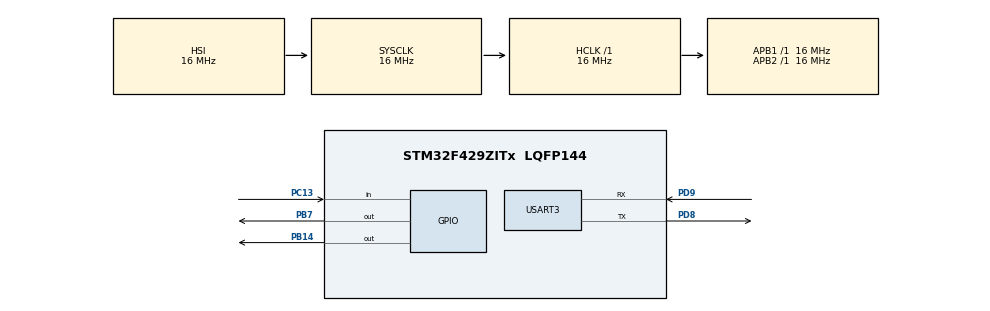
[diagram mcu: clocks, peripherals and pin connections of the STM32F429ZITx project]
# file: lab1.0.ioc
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Mcu.Family=STM32F4
Mcu.Name=STM32F429ZITx
Mcu.Package=LQFP144
NVIC.PriorityGroup=NVIC_PRIORITYGROUP_4
NVIC.USART3_IRQn=true\:0\:0\:false\:false\:true\:true\:true\:true
PB14.Signal=GPIO_Output
PB7.Signal=GPIO_Output
PC13.Signal=GPIO_Input
PD8.Mode=Asynchronous
PD8.Signal=USART3_TX
PD9.Mode=Asynchronous
PD9.Signal=USART3_RX
ProjectManager.HeapSize=0x200
ProjectManager.StackSize=0x400
ProjectManager.TargetToolchain=STM32CubeIDE
RCC.AHBFreq_Value=16000000
RCC.APB1Freq_Value=16000000
RCC.APB2Freq_Value=16000000
RCC.CortexFreq_Value=16000000
RCC.HSE_VALUE=25000000
RCC.HSI_VALUE=16000000
RCC.LSE_VALUE=32768
RCC.SYSCLKFreq_VALUE=16000000
RCC.VCOOutputFreq_Value=192000000
USART3.VirtualMode=VM_ASYNC
board=custom

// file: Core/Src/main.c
/* USER CODE BEGIN Header */
/**
  ******************************************************************************
  * @file           : main.c
  * @brief          : Main program body
  ******************************************************************************
  * @attention
  *
  * Copyright (c) 2025 STMicroelectronics.
  * All rights reserved.
  *
  * This software is licensed under terms that can be found in the LICENSE file
  * in the root directory of this software component.
  * If no LICENSE file comes with this software, it is provided AS-IS.
  *
  ******************************************************************************
  */
/* USER CODE END Header */
#include "main.h"

/* USER CODE BEGIN Includes */
#include <string.h>
#include <ctype.h>
#include <stdlib.h>
/* USER CODE END Includes */

/* USER CODE BEGIN PD */
#define LD2_GPIO_PORT    GPIOB
#define LD2_PIN          GPIO_PIN_7

#define LD3_GPIO_PORT    GPIOB
#define LD3_PIN          GPIO_PIN_14

#define USER_BUTTON_PORT GPIOC
#define USER_BUTTON_PIN  GPIO_PIN_13

#define RX_BUFFER_SIZE 32
/* USER CODE END PD */

UART_HandleTypeDef huart3;

/* USER CODE BEGIN PV */
uint32_t tick_ms;
uint32_t phase_shift_ms;
uint8_t last_button_state = GPIO_PIN_SET;
uint8_t phase90_mode = 1;

uint32_t blink_period_ms = 1000;
uint32_t half_period_ms = 500;

char rx_buffer[RX_BUFFER_SIZE];
uint8_t rx_index = 0;
uint8_t new_data_available = 0;
/* USER CODE END PV */

void SystemClock_Config(void);
static void MX_GPIO_Init(void);
static void MX_USART3_UART_Init(void);
/* USER CODE BEGIN PFP */
void process_uart_command(void);
void parse_frequency_command(char* command);
/* USER CODE END PFP */

/* USER CODE BEGIN 0 */

int _write(int file, char *ptr, int len)
{
    HAL_UART_Transmit(&huart3, (uint8_t*)ptr, len, HAL_MAX_DELAY);
    return len;
}
/* USER CODE END 0 */

int main(void)
{

  /* MCU Configuration--------------------------------------------------------*/

  /* Reset of all peripherals, Initializes the Flash interface and the Systick. */
  HAL_Init();

  /* Configure the system clock */
  SystemClock_Config();

  /* Initialize all configured peripherals */
  MX_GPIO_Init();
  MX_USART3_UART_Init();
  /* USER CODE BEGIN 2 */
  memset(rx_buffer, 0, RX_BUFFER_SIZE);
  rx_index = 0;
  HAL_GPIO_WritePin(LD2_GPIO_PORT, LD2_PIN, GPIO_PIN_RESET);
  HAL_GPIO_WritePin(LD3_GPIO_PORT, LD3_PIN, GPIO_PIN_RESET);

  /* USER CODE END 2 */

  /* Infinite loop */
  /* USER CODE BEGIN WHILE */
  while (1)
  {

    tick_ms = HAL_GetTick() % blink_period_ms;
    phase_shift_ms = (phase90_mode) ? (blink_period_ms / 4) : (blink_period_ms / 2);

    if (tick_ms < half_period_ms)
        HAL_GPIO_WritePin(LD2_GPIO_PORT, LD2_PIN, GPIO_PIN_SET);
    else
        HAL_GPIO_WritePin(LD2_GPIO_PORT, LD2_PIN, GPIO_PIN_RESET);

    uint32_t shifted = (tick_ms + phase_shift_ms) % blink_period_ms;
    if (shifted < half_period_ms)
        HAL_GPIO_WritePin(LD3_GPIO_PORT, LD3_PIN, GPIO_PIN_SET);
    else
        HAL_GPIO_WritePin(LD3_GPIO_PORT, LD3_PIN, GPIO_PIN_RESET);

    uint8_t raw = HAL_GPIO_ReadPin(USER_BUTTON_PORT, USER_BUTTON_PIN);
    if (raw == GPIO_PIN_RESET && last_button_state == GPIO_PIN_SET) {
        phase90_mode ^= 1;
        printf("Phase mode changed to: %s\r\n", phase90_mode ? "90°" : "180°");
        HAL_Delay(300);
    }
    last_button_state = raw;

    process_uart_command();

    /* USER CODE END WHILE */

  }
}

void SystemClock_Config(void)
{
  RCC_OscInitTypeDef RCC_OscInitStruct = {0};
  RCC_ClkInitTypeDef RCC_ClkInitStruct = {0};

  /** Configure the main internal regulator output voltage
  */
  __HAL_RCC_PWR_CLK_ENABLE();
  __HAL_PWR_VOLTAGESCALING_CONFIG(PWR_REGULATOR_VOLTAGE_SCALE3);

  /** Initializes the RCC Oscillators according to the specified parameters
  * in the RCC_OscInitTypeDef structure.
  */
  RCC_OscInitStruct.OscillatorType = RCC_OSCILLATORTYPE_HSI;
  RCC_OscInitStruct.HSIState = RCC_HSI_ON;
  RCC_OscInitStruct.HSICalibrationValue = RCC_HSICALIBRATION_DEFAULT;
  RCC_OscInitStruct.PLL.PLLState = RCC_PLL_NONE;
  if (HAL_RCC_OscConfig(&RCC_OscInitStruct) != HAL_OK)
  {
    Error_Handler();
  }

  /** Initializes the CPU, AHB and APB buses clocks
  */
  RCC_ClkInitStruct.ClockType = RCC_CLOCKTYPE_HCLK|RCC_CLOCKTYPE_SYSCLK
                              |RCC_CLOCKTYPE_PCLK1|RCC_CLOCKTYPE_PCLK2;
  RCC_ClkInitStruct.SYSCLKSource = RCC_SYSCLKSOURCE_HSI;
  RCC_ClkInitStruct.AHBCLKDivider = RCC_SYSCLK_DIV1;
  RCC_ClkInitStruct.APB1CLKDivider = RCC_HCLK_DIV1;
  RCC_ClkInitStruct.APB2CLKDivider = RCC_HCLK_DIV1;

  if (HAL_RCC_ClockConfig(&RCC_ClkInitStruct, FLASH_LATENCY_0) != HAL_OK)
  {
    Error_Handler();
  }
}

static void MX_USART3_UART_Init(void)
{

  huart3.Instance = USART3;
  huart3.Init.BaudRate = 115200;
  huart3.Init.WordLength = UART_WORDLENGTH_8B;
  huart3.Init.StopBits = UART_STOPBITS_1;
  huart3.Init.Parity = UART_PARITY_NONE;
  huart3.Init.Mode = UART_MODE_TX_RX;
  huart3.Init.HwFlowCtl = UART_HWCONTROL_NONE;
  huart3.Init.OverSampling = UART_OVERSAMPLING_16;
  if (HAL_UART_Init(&huart3) != HAL_OK)
  {
    Error_Handler();
  }

}

static void MX_GPIO_Init(void)
{
  GPIO_InitTypeDef GPIO_InitStruct = {0};

  /* GPIO Ports Clock Enable */
  __HAL_RCC_GPIOC_CLK_ENABLE();
  __HAL_RCC_GPIOB_CLK_ENABLE();
  __HAL_RCC_GPIOD_CLK_ENABLE();

  /*Configure GPIO pin Output Level */
  HAL_GPIO_WritePin(GPIOB, GPIO_PIN_14|GPIO_PIN_7, GPIO_PIN_RESET);

  /*Configure GPIO pin : PC13 */
  GPIO_InitStruct.Pin = GPIO_PIN_13;
  GPIO_InitStruct.Mode = GPIO_MODE_INPUT;
  GPIO_InitStruct.Pull = GPIO_NOPULL;
  HAL_GPIO_Init(GPIOC, &GPIO_InitStruct);

  /*Configure GPIO pins : PB14 PB7 */
  GPIO_InitStruct.Pin = GPIO_PIN_14|GPIO_PIN_7;
  GPIO_InitStruct.Mode = GPIO_MODE_OUTPUT_PP;
  GPIO_InitStruct.Pull = GPIO_NOPULL;
  GPIO_InitStruct.Speed = GPIO_SPEED_FREQ_LOW;
  HAL_GPIO_Init(GPIOB, &GPIO_InitStruct);

}

/* USER CODE BEGIN 4 */

/**
  * @brief
  */
void process_uart_command(void)
{
    uint8_t byte;

    if (HAL_UART_Receive(&huart3, &byte, 1, 10) == HAL_OK)
    {
        // Ехо-відповідь
        HAL_UART_Transmit(&huart3, &byte, 1, 10);

        if (byte == '\r' || byte == '\n')
        {
            if (rx_index > 0)
            {
                rx_buffer[rx_index] = '\0';
                printf("\r\n");

                char command[RX_BUFFER_SIZE];
                strcpy(command, rx_buffer);

                for (int i = 0; i < strlen(command); i++)
                {
                    command[i] = tolower(command[i]);
                }

                if (strncmp(command, "f=", 2) == 0)
                {
                    parse_frequency_command(command + 2);
                }
                else
                {
                    printf("ERROR: Invalid command format. Use 'F=x.x'\r\n");
                }

                rx_index = 0;
            }
        }
        else if (rx_index < RX_BUFFER_SIZE - 1)
        {
            rx_buffer[rx_index++] = byte;
        }
        else
        {
            printf("\r\nERROR: Buffer overflow\r\n");
            rx_index = 0;
        }
    }
}

/**
  * @brief
  */
void parse_frequency_command(char* command)
{
    char *endptr;
    float frequency = strtof(command, &endptr);

    if (endptr == command)
    {
        printf("ERROR: Invalid number format\r\n");
        return;
    }

    if (frequency < 0.1f || frequency > 9.9f)
    {
        printf("ERROR: Frequency %.1f out of range (0.1-9.9 Hz)\r\n", frequency);
        return;
    }

    blink_period_ms = (uint32_t)(1000.0f / frequency);
    half_period_ms = blink_period_ms / 2;

    printf("OK: Frequency set to %.1f Hz (%lu ms period)\r\n", frequency, blink_period_ms);
}

/* USER CODE END 4 */

void Error_Handler(void)
{
  __disable_irq();
  while (1)
  {
  }
}
